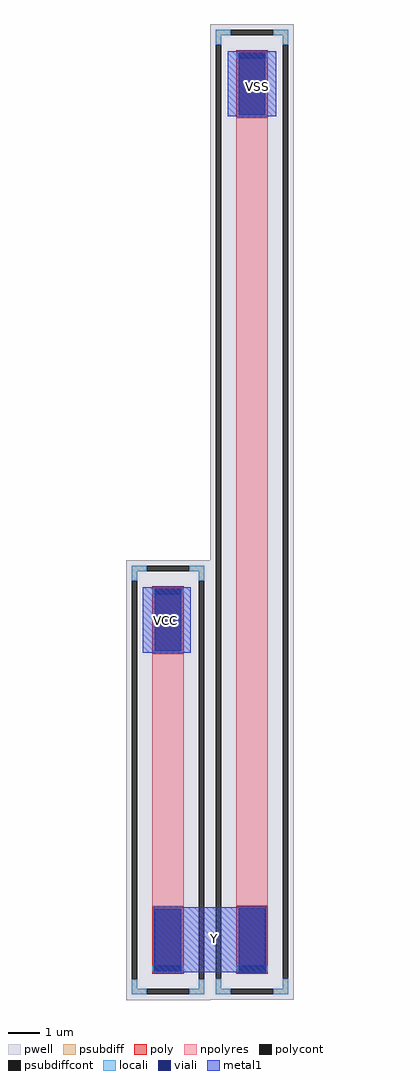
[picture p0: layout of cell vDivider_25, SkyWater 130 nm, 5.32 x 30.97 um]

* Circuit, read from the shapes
.subckt vDivider_25 VCC VSS Y
R1 VCC Y sky130_fd_pr__res_generic_po w=1 l=8
R2 VSS Y sky130_fd_pr__res_generic_po w=1 l=25
.ends

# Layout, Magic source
magic
tech sky130B
<< metal1 >>
rect 270 3050 423 3257
rect -1 1348 152 1555
rect 34 334 391 541
use sky130_fd_pr__res_generic_po_NSB5VY  R1
transform 1 0 346 0 1 1795
box -133 -1548 133 1548
use sky130_fd_pr__res_generic_po_FHUZEF  R3
transform 1 0 80 0 1 944
box -133 -698 133 698
<< labels >>
flabel metal1 178 392 278 492 0 FreeSans 128 0 0 0 Y
port 2 nsew
flabel metal1 313 3094 413 3194 0 FreeSans 128 0 0 0 VSS
port 1 nsew
flabel metal1 21 1399 121 1499 0 FreeSans 128 0 0 0 VCC
port 0 nsew
<< end >>

# cell sky130_fd_pr__res_generic_po_NSB5VY: kit device sky130_fd_pr__res_generic_po, w 1.0 l 25.0 m 1 nx 1 wmin 0.330 lmin 1.650 rho 48.2 val 1.205k dummy 0 dw 0.0 term 0.0 sterm 0.0 caplen 0.4 snake 0 guard 1 glc 1 grc 1 gtc 1 gbc 1 roverlap 0 endcov 100 full_metal 1 hv_guard 0 n_guard 0 vias 1 viagb 0 viagt 0 viagl 0 viagr 0

# cell sky130_fd_pr__res_generic_po_FHUZEF: kit device sky130_fd_pr__res_generic_po, w 1.0 l 8.0 m 1 nx 1 wmin 0.330 lmin 1.650 rho 48.2 val 385.6 dummy 0 dw 0.0 term 0.0 sterm 0.0 caplen 0.4 snake 0 guard 1 glc 1 grc 1 gtc 1 gbc 1 roverlap 0 endcov 100 full_metal 1 hv_guard 0 n_guard 0 vias 1 viagb 0 viagt 0 viagl 0 viagr 0
